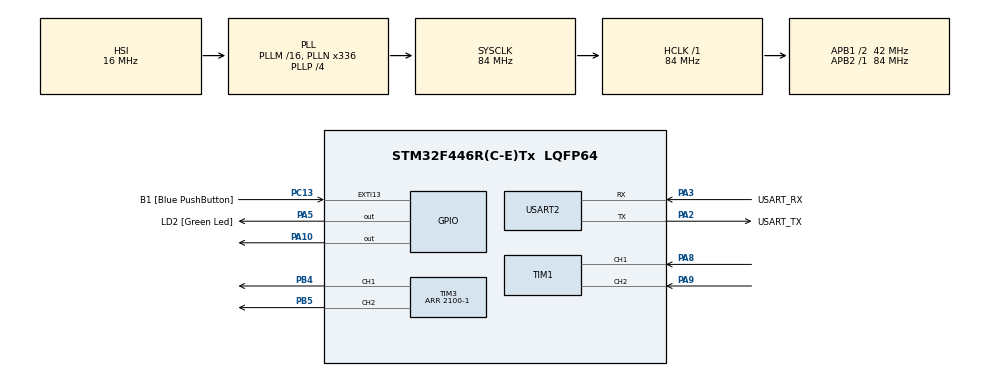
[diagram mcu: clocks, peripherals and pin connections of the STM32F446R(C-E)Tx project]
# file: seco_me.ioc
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Mcu.Family=STM32F4
Mcu.Name=STM32F446R(C-E)Tx
Mcu.Package=LQFP64
NVIC.PriorityGroup=NVIC_PRIORITYGROUP_0
NVIC.TIM2_IRQn=true\:0\:0\:false\:false\:true\:true\:true\:true
PA10.Signal=GPIO_Output
PA13.GPIO_Label=TMS
PA13.Mode=Serial_Wire
PA13.Signal=SYS_JTMS-SWDIO
PA14.GPIO_Label=TCK
PA14.Mode=Serial_Wire
PA14.Signal=SYS_JTCK-SWCLK
PA2.GPIO_Label=USART_TX
PA2.Mode=Asynchronous
PA2.Signal=USART2_TX
PA3.GPIO_Label=USART_RX
PA3.Mode=Asynchronous
PA3.Signal=USART2_RX
PA5.GPIO_Label=LD2 [Green Led]
PA5.Signal=GPIO_Output
PA8.Signal=S_TIM1_CH1
PA9.Signal=S_TIM1_CH2
PB4.Signal=S_TIM3_CH1
PB5.Signal=S_TIM3_CH2
PC13.GPIO_Label=B1 [Blue PushButton]
PC13.GPIO_ModeDefaultEXTI=GPIO_MODE_IT_FALLING
PC13.Signal=GPXTI13
PC14-OSC32_IN.Mode=LSE-External-Oscillator
PC14-OSC32_IN.Signal=RCC_OSC32_IN
PC15-OSC32_OUT.Mode=LSE-External-Oscillator
PC15-OSC32_OUT.Signal=RCC_OSC32_OUT
PH0-OSC_IN.Mode=HSE-External-Oscillator
PH0-OSC_IN.Signal=RCC_OSC_IN
PH1-OSC_OUT.Mode=HSE-External-Oscillator
PH1-OSC_OUT.Signal=RCC_OSC_OUT
ProjectManager.HeapSize=0x200
ProjectManager.StackSize=0x400
ProjectManager.TargetToolchain=STM32CubeIDE
RCC.48MHZClocksFreq_Value=84000000
RCC.AHBFreq_Value=84000000
RCC.APB1CLKDivider=RCC_HCLK_DIV2
RCC.APB1Freq_Value=42000000
RCC.APB1TimFreq_Value=84000000
RCC.APB2Freq_Value=84000000
RCC.APB2TimFreq_Value=84000000
RCC.CortexFreq_Value=84000000
RCC.FLatency-AdvancedSettings=FLASH_LATENCY_2
RCC.HCLKFreq_Value=84000000
RCC.HSE_VALUE=8000000
RCC.HSI_VALUE=16000000
RCC.PLLN=336
RCC.PLLP=RCC_PLLP_DIV4
RCC.SYSCLKFreq_VALUE=84000000
RCC.SYSCLKSource=RCC_SYSCLKSOURCE_PLLCLK
RCC.USBFreq_Value=168000000
RCC.VCOOutputFreq_Value=336000000
SH.S_TIM1_CH1.0=TIM1_CH1,Encoder_Interface
SH.S_TIM1_CH2.0=TIM1_CH2,Encoder_Interface
SH.S_TIM3_CH1.0=TIM3_CH1,PWM Generation1 CH1
SH.S_TIM3_CH2.0=TIM3_CH2,PWM Generation2 CH2
TIM1.AutoReloadPreload=TIM_AUTORELOAD_PRELOAD_ENABLE
TIM1.EncoderMode=TIM_ENCODERMODE_TI12
TIM1.IC1Filter=0
TIM2.Period=84000-1
TIM3.Channel-PWM\ Generation1\ CH1=TIM_CHANNEL_1
TIM3.Channel-PWM\ Generation2\ CH2=TIM_CHANNEL_2
TIM3.OCFastMode_PWM-PWM\ Generation1\ CH1=TIM_OCFAST_DISABLE
TIM3.Period=2100-1
TIM3.Pulse-PWM\ Generation1\ CH1=0
TIM3.Pulse-PWM\ Generation2\ CH2=0
USART2.StopBits=STOPBITS_1
USART2.VirtualMode=VM_ASYNC
VP_TIM2_VS_ClockSourceINT.Mode=Internal
VP_TIM3_VS_ClockSourceINT.Mode=Internal
board=NUCLEO-F446RE

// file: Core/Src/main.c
/* USER CODE BEGIN Header */
/**
  ******************************************************************************
  * @file           : main.c
  * @brief          : Main program body
  ******************************************************************************
  * @attention
  *
  * Copyright (c) 2022 STMicroelectronics.
  * All rights reserved.
  *
  * This software is licensed under terms that can be found in the LICENSE file
  * in the root directory of this software component.
  * If no LICENSE file comes with this software, it is provided AS-IS.
  *
  ******************************************************************************
  */
/* USER CODE END Header */
#include "main.h"
#include <stdio.h>

TIM_HandleTypeDef htim1;
TIM_HandleTypeDef htim2;
TIM_HandleTypeDef htim3;

UART_HandleTypeDef huart2;

/* USER CODE BEGIN PV */
uint8_t cur_voltage;
volatile uint8_t finished = 0;
extern uint16_t ms;
extern uint16_t muestras[12][1201];
/* USER CODE END PV */

void SystemClock_Config(void);
static void MX_GPIO_Init(void);
static void MX_USART2_UART_Init(void);
static void MX_TIM3_Init(void);
static void MX_TIM1_Init(void);
static void MX_TIM2_Init(void);

int main(void)
{

  /* MCU Configuration--------------------------------------------------------*/

  /* Reset of all peripherals, Initializes the Flash interface and the Systick. */
  HAL_Init();

  /* Configure the system clock */
  SystemClock_Config();

  /* Initialize all configured peripherals */
  MX_GPIO_Init();
  MX_USART2_UART_Init();
  MX_TIM3_Init();
  MX_TIM1_Init();
  MX_TIM2_Init();
  /* USER CODE BEGIN 2 */

  HAL_GPIO_WritePin(GPIOA, GPIO_PIN_10, GPIO_PIN_SET);
  HAL_Delay(1000);
  setVoltage(1, &htim3);
  for (cur_voltage = 1; cur_voltage <= 12; cur_voltage++) {
	  //generador de experimentos
	  HAL_TIM_Encoder_Start(&htim1, TIM_CHANNEL_ALL);
	  HAL_TIM_PWM_Start(&htim3, TIM_CHANNEL_1);
	  HAL_TIM_PWM_Start(&htim3, TIM_CHANNEL_2);
	  HAL_TIM_Base_Start_IT(&htim2);
	  // polling wait for finish
	  while (!finished) HAL_Delay(100);
	  finished = 0;
  }

  // halt everything
  HAL_TIM_Base_Stop_IT(&htim2);
  __HAL_TIM_SET_COUNTER(&htim2, 0);
  HAL_TIM_PWM_Stop(&htim3, TIM_CHANNEL_1);
  HAL_TIM_PWM_Stop(&htim3, TIM_CHANNEL_2);
  HAL_TIM_Encoder_Stop(&htim1, TIM_CHANNEL_ALL);
  __HAL_TIM_SET_COUNTER(&htim1, 0);

  uint8_t w[100] = {0};
  sprintf(w, "Start Positive Voltage Experiments\r\n");
  HAL_UART_Transmit(&huart2, w, sizeof(w), 10);

  for (int i = 0; i < 12; i++) {
	  uint8_t e[100] = {0};
	  sprintf(e, "Experiment %d\r\n", i+1);
	  HAL_UART_Transmit(&huart2, e, sizeof(e), 10);
	  for (int j = 0; j < 1201; j++) {
		  uint8_t m[100] = {0};
		  sprintf(m, "%d %d\r\n", j, muestras[i][j]);
		  HAL_UART_Transmit(&huart2, m, sizeof(m), 10);
		  //HAL_Delay(20);
	  }
  }

  /* USER CODE END 2 */

  /* Infinite loop */
  /* USER CODE BEGIN WHILE */
  HAL_TIM_Encoder_Start(&htim1, TIM_CHANNEL_ALL); // for manual counter counting value
  while (1)
  {
    /* USER CODE END WHILE */

  }
}

void SystemClock_Config(void)
{
  RCC_OscInitTypeDef RCC_OscInitStruct = {0};
  RCC_ClkInitTypeDef RCC_ClkInitStruct = {0};

  /** Configure the main internal regulator output voltage
  */
  __HAL_RCC_PWR_CLK_ENABLE();
  __HAL_PWR_VOLTAGESCALING_CONFIG(PWR_REGULATOR_VOLTAGE_SCALE3);
  /** Initializes the RCC Oscillators according to the specified parameters
  * in the RCC_OscInitTypeDef structure.
  */
  RCC_OscInitStruct.OscillatorType = RCC_OSCILLATORTYPE_HSI;
  RCC_OscInitStruct.HSIState = RCC_HSI_ON;
  RCC_OscInitStruct.HSICalibrationValue = RCC_HSICALIBRATION_DEFAULT;
  RCC_OscInitStruct.PLL.PLLState = RCC_PLL_ON;
  RCC_OscInitStruct.PLL.PLLSource = RCC_PLLSOURCE_HSI;
  RCC_OscInitStruct.PLL.PLLM = 16;
  RCC_OscInitStruct.PLL.PLLN = 336;
  RCC_OscInitStruct.PLL.PLLP = RCC_PLLP_DIV4;
  RCC_OscInitStruct.PLL.PLLQ = 2;
  RCC_OscInitStruct.PLL.PLLR = 2;
  if (HAL_RCC_OscConfig(&RCC_OscInitStruct) != HAL_OK)
  {
    Error_Handler();
  }
  /** Initializes the CPU, AHB and APB buses clocks
  */
  RCC_ClkInitStruct.ClockType = RCC_CLOCKTYPE_HCLK|RCC_CLOCKTYPE_SYSCLK
                              |RCC_CLOCKTYPE_PCLK1|RCC_CLOCKTYPE_PCLK2;
  RCC_ClkInitStruct.SYSCLKSource = RCC_SYSCLKSOURCE_PLLCLK;
  RCC_ClkInitStruct.AHBCLKDivider = RCC_SYSCLK_DIV1;
  RCC_ClkInitStruct.APB1CLKDivider = RCC_HCLK_DIV2;
  RCC_ClkInitStruct.APB2CLKDivider = RCC_HCLK_DIV1;

  if (HAL_RCC_ClockConfig(&RCC_ClkInitStruct, FLASH_LATENCY_2) != HAL_OK)
  {
    Error_Handler();
  }
}

static void MX_TIM1_Init(void)
{

  TIM_Encoder_InitTypeDef sConfig = {0};
  TIM_MasterConfigTypeDef sMasterConfig = {0};

  htim1.Instance = TIM1;
  htim1.Init.Prescaler = 0;
  htim1.Init.CounterMode = TIM_COUNTERMODE_UP;
  htim1.Init.Period = 65535;
  htim1.Init.ClockDivision = TIM_CLOCKDIVISION_DIV1;
  htim1.Init.RepetitionCounter = 0;
  htim1.Init.AutoReloadPreload = TIM_AUTORELOAD_PRELOAD_ENABLE;
  sConfig.EncoderMode = TIM_ENCODERMODE_TI12;
  sConfig.IC1Polarity = TIM_ICPOLARITY_RISING;
  sConfig.IC1Selection = TIM_ICSELECTION_DIRECTTI;
  sConfig.IC1Prescaler = TIM_ICPSC_DIV1;
  sConfig.IC1Filter = 0;
  sConfig.IC2Polarity = TIM_ICPOLARITY_RISING;
  sConfig.IC2Selection = TIM_ICSELECTION_DIRECTTI;
  sConfig.IC2Prescaler = TIM_ICPSC_DIV1;
  sConfig.IC2Filter = 0;
  if (HAL_TIM_Encoder_Init(&htim1, &sConfig) != HAL_OK)
  {
    Error_Handler();
  }
  sMasterConfig.MasterOutputTrigger = TIM_TRGO_RESET;
  sMasterConfig.MasterSlaveMode = TIM_MASTERSLAVEMODE_DISABLE;
  if (HAL_TIMEx_MasterConfigSynchronization(&htim1, &sMasterConfig) != HAL_OK)
  {
    Error_Handler();
  }

}

static void MX_TIM2_Init(void)
{

  TIM_ClockConfigTypeDef sClockSourceConfig = {0};
  TIM_MasterConfigTypeDef sMasterConfig = {0};

  htim2.Instance = TIM2;
  htim2.Init.Prescaler = 0;
  htim2.Init.CounterMode = TIM_COUNTERMODE_UP;
  htim2.Init.Period = 84000-1;
  htim2.Init.ClockDivision = TIM_CLOCKDIVISION_DIV1;
  htim2.Init.AutoReloadPreload = TIM_AUTORELOAD_PRELOAD_DISABLE;
  if (HAL_TIM_Base_Init(&htim2) != HAL_OK)
  {
    Error_Handler();
  }
  sClockSourceConfig.ClockSource = TIM_CLOCKSOURCE_INTERNAL;
  if (HAL_TIM_ConfigClockSource(&htim2, &sClockSourceConfig) != HAL_OK)
  {
    Error_Handler();
  }
  sMasterConfig.MasterOutputTrigger = TIM_TRGO_RESET;
  sMasterConfig.MasterSlaveMode = TIM_MASTERSLAVEMODE_DISABLE;
  if (HAL_TIMEx_MasterConfigSynchronization(&htim2, &sMasterConfig) != HAL_OK)
  {
    Error_Handler();
  }

}

static void MX_TIM3_Init(void)
{

  TIM_ClockConfigTypeDef sClockSourceConfig = {0};
  TIM_MasterConfigTypeDef sMasterConfig = {0};
  TIM_OC_InitTypeDef sConfigOC = {0};

  htim3.Instance = TIM3;
  htim3.Init.Prescaler = 0;
  htim3.Init.CounterMode = TIM_COUNTERMODE_UP;
  htim3.Init.Period = 2100-1;
  htim3.Init.ClockDivision = TIM_CLOCKDIVISION_DIV1;
  htim3.Init.AutoReloadPreload = TIM_AUTORELOAD_PRELOAD_DISABLE;
  if (HAL_TIM_Base_Init(&htim3) != HAL_OK)
  {
    Error_Handler();
  }
  sClockSourceConfig.ClockSource = TIM_CLOCKSOURCE_INTERNAL;
  if (HAL_TIM_ConfigClockSource(&htim3, &sClockSourceConfig) != HAL_OK)
  {
    Error_Handler();
  }
  if (HAL_TIM_PWM_Init(&htim3) != HAL_OK)
  {
    Error_Handler();
  }
  sMasterConfig.MasterOutputTrigger = TIM_TRGO_RESET;
  sMasterConfig.MasterSlaveMode = TIM_MASTERSLAVEMODE_DISABLE;
  if (HAL_TIMEx_MasterConfigSynchronization(&htim3, &sMasterConfig) != HAL_OK)
  {
    Error_Handler();
  }
  sConfigOC.OCMode = TIM_OCMODE_PWM1;
  sConfigOC.Pulse = 0;
  sConfigOC.OCPolarity = TIM_OCPOLARITY_HIGH;
  sConfigOC.OCFastMode = TIM_OCFAST_DISABLE;
  if (HAL_TIM_PWM_ConfigChannel(&htim3, &sConfigOC, TIM_CHANNEL_1) != HAL_OK)
  {
    Error_Handler();
  }
  if (HAL_TIM_PWM_ConfigChannel(&htim3, &sConfigOC, TIM_CHANNEL_2) != HAL_OK)
  {
    Error_Handler();
  }
  HAL_TIM_MspPostInit(&htim3);

}

static void MX_USART2_UART_Init(void)
{

  huart2.Instance = USART2;
  huart2.Init.BaudRate = 115200;
  huart2.Init.WordLength = UART_WORDLENGTH_8B;
  huart2.Init.StopBits = UART_STOPBITS_1;
  huart2.Init.Parity = UART_PARITY_NONE;
  huart2.Init.Mode = UART_MODE_TX_RX;
  huart2.Init.HwFlowCtl = UART_HWCONTROL_NONE;
  huart2.Init.OverSampling = UART_OVERSAMPLING_16;
  if (HAL_UART_Init(&huart2) != HAL_OK)
  {
    Error_Handler();
  }

}

static void MX_GPIO_Init(void)
{
  GPIO_InitTypeDef GPIO_InitStruct = {0};

  /* GPIO Ports Clock Enable */
  __HAL_RCC_GPIOC_CLK_ENABLE();
  __HAL_RCC_GPIOH_CLK_ENABLE();
  __HAL_RCC_GPIOA_CLK_ENABLE();
  __HAL_RCC_GPIOB_CLK_ENABLE();

  /*Configure GPIO pin Output Level */
  HAL_GPIO_WritePin(GPIOA, LD2_Pin|GPIO_PIN_10, GPIO_PIN_RESET);

  /*Configure GPIO pin : B1_Pin */
  GPIO_InitStruct.Pin = B1_Pin;
  GPIO_InitStruct.Mode = GPIO_MODE_IT_FALLING;
  GPIO_InitStruct.Pull = GPIO_NOPULL;
  HAL_GPIO_Init(B1_GPIO_Port, &GPIO_InitStruct);

  /*Configure GPIO pins : LD2_Pin PA10 */
  GPIO_InitStruct.Pin = LD2_Pin|GPIO_PIN_10;
  GPIO_InitStruct.Mode = GPIO_MODE_OUTPUT_PP;
  GPIO_InitStruct.Pull = GPIO_NOPULL;
  GPIO_InitStruct.Speed = GPIO_SPEED_FREQ_LOW;
  HAL_GPIO_Init(GPIOA, &GPIO_InitStruct);

}

/* USER CODE BEGIN 4 */

void setVoltage(float voltage, TIM_HandleTypeDef* tim1){

//	__HAL_TIM_SET_COMPARE(htim, TIM_CHANNEL_1, (pulse + CH1_FREQ));

	int pulse = 0;

	if (voltage > 12.0 || voltage < -12.0) {
		pulse = 2100-1;
	}

	if (voltage >= 0.0 ) {
		pulse =(int) ((2100-1)*voltage/12);
		__HAL_TIM_SET_COMPARE(tim1, TIM_CHANNEL_1, pulse );
		__HAL_TIM_SET_COMPARE(tim1, TIM_CHANNEL_2, 0 );
	} else {
		pulse =(int) (-(2100-1)*voltage/12);
		__HAL_TIM_SET_COMPARE(tim1, TIM_CHANNEL_1, 0);
		__HAL_TIM_SET_COMPARE(tim1, TIM_CHANNEL_2, pulse);
	}

}

/* USER CODE END 4 */

void Error_Handler(void)
{
  __disable_irq();
  while (1)
  {
  }
}
